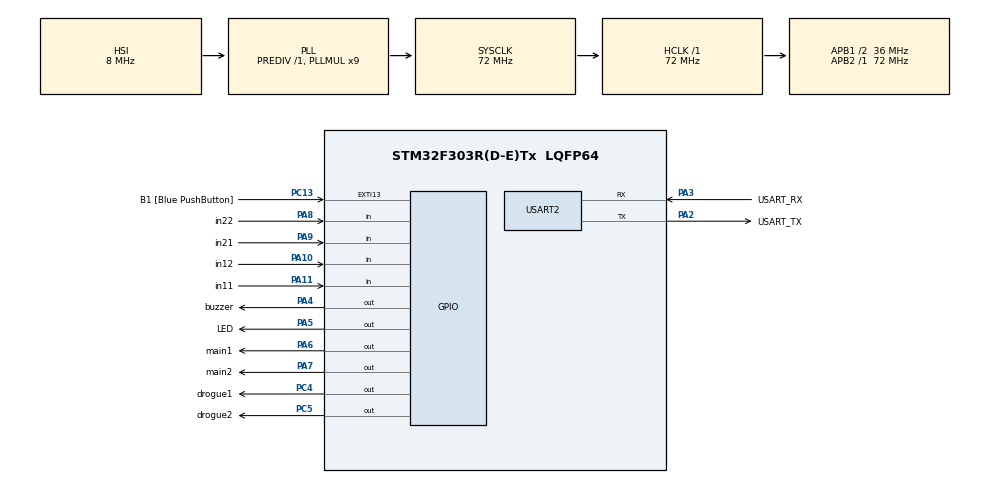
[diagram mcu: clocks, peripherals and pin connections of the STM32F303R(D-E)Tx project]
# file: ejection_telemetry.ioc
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FREERTOS.Tasks01=ejection,24,128,StartEjection,Default,NULL,Dynamic,NULL,NULL;telemetry,8,128,StartTelemetry,Default,NULL,Dynamic,NULL,NULL
Mcu.Family=STM32F3
Mcu.Name=STM32F303R(D-E)Tx
Mcu.Package=LQFP64
NVIC.PriorityGroup=NVIC_PRIORITYGROUP_4
NVIC.TIM6_DAC_IRQn=true\:0\:0\:false\:false\:true\:false\:false\:true
NVIC.TimeBase=TIM6_DAC_IRQn
NVIC.TimeBaseIP=TIM6
PA10.GPIO_Label=in12
PA10.Signal=GPIO_Input
PA11.GPIO_Label=in11
PA11.Signal=GPIO_Input
PA13.GPIO_Label=TMS
PA13.Mode=Serial_Wire
PA13.Signal=SYS_JTMS-SWDIO
PA14.GPIO_Label=TCK
PA14.Mode=Serial_Wire
PA14.Signal=SYS_JTCK-SWCLK
PA2.GPIO_Label=USART_TX
PA2.GPIO_Mode=GPIO_MODE_AF_PP
PA2.GPIO_PuPd=GPIO_NOPULL
PA2.GPIO_Speed=GPIO_SPEED_FREQ_LOW
PA2.Mode=Asynchronous
PA2.Signal=USART2_TX
PA3.GPIO_Label=USART_RX
PA3.GPIO_Mode=GPIO_MODE_AF_PP
PA3.GPIO_PuPd=GPIO_NOPULL
PA3.GPIO_Speed=GPIO_SPEED_FREQ_LOW
PA3.Mode=Asynchronous
PA3.Signal=USART2_RX
PA4.GPIO_Label=buzzer
PA4.Signal=GPIO_Output
PA5.GPIO_Label=LED
PA5.GPIO_Mode=GPIO_MODE_OUTPUT_PP
PA5.GPIO_PuPd=GPIO_NOPULL
PA5.GPIO_Speed=GPIO_SPEED_FREQ_LOW
PA5.Signal=GPIO_Output
PA6.GPIO_Label=main1
PA6.Signal=GPIO_Output
PA7.GPIO_Label=main2
PA7.Signal=GPIO_Output
PA8.GPIO_Label=in22
PA8.Signal=GPIO_Input
PA9.GPIO_Label=in21
PA9.Signal=GPIO_Input
PB3.GPIO_Label=SWO
PB3.Signal=SYS_JTDO-TRACESWO
PC13.GPIO_Label=B1 [Blue PushButton]
PC13.GPIO_ModeDefaultEXTI=GPIO_MODE_IT_FALLING
PC13.Signal=GPXTI13
PC14-OSC32_IN.Mode=LSE-External-Oscillator
PC14-OSC32_IN.Signal=RCC_OSC32_IN
PC15-OSC32_OUT.Mode=LSE-External-Oscillator
PC15-OSC32_OUT.Signal=RCC_OSC32_OUT
PC4.GPIO_Label=drogue1
PC4.Signal=GPIO_Output
PC5.GPIO_Label=drogue2
PC5.Signal=GPIO_Output
PF0-OSC_IN.Mode=HSE-External-Clock-Source
PF0-OSC_IN.Signal=RCC_OSC_IN
PF1-OSC_OUT.Signal=RCC_OSC_OUT
ProjectManager.HeapSize=0x200
ProjectManager.StackSize=0x400
ProjectManager.TargetToolchain=STM32CubeIDE
RCC.AHBFreq_Value=72000000
RCC.APB1CLKDivider=RCC_HCLK_DIV2
RCC.APB1Freq_Value=36000000
RCC.APB1TimFreq_Value=72000000
RCC.APB2Freq_Value=72000000
RCC.APB2TimFreq_Value=72000000
RCC.CortexFreq_Value=72000000
RCC.HCLKFreq_Value=72000000
RCC.HSE_VALUE=8000000
RCC.HSI_VALUE=8000000
RCC.PLLM=8
RCC.PLLMUL=RCC_PLL_MUL9
RCC.PLLN=336
RCC.PLLP=RCC_PLLP_DIV4
RCC.PLLQ=7
RCC.RCC_PLLsource_Clock_Source_FROM_HSE=RCC_HSE_PREDIV_DIV2
RCC.SYSCLKFreq_VALUE=72000000
RCC.SYSCLKSourceVirtual=RCC_SYSCLKSOURCE_PLLCLK
RCC.USBFreq_Value=72000000
USART2.VirtualMode-Asynchronous=VM_ASYNC
VP_FREERTOS_VS_CMSIS_V2.Mode=CMSIS_V2
VP_SYS_VS_tim6.Mode=TIM6
board=NUCLEO-F303RE

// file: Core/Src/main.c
/* USER CODE BEGIN Header */
/**
 ******************************************************************************
 * @file           : main.c
 * @brief          : Main program body
 ******************************************************************************
 * @attention
 *
 * <h2><center>&copy; Copyright (c) 2021 STMicroelectronics.
 * All rights reserved.</center></h2>
 *
 * This software component is licensed by ST under BSD 3-Clause license,
 * the "License"; You may not use this file except in compliance with the
 * License. You may obtain a copy of the License at:
 *                        opensource.org/licenses/BSD-3-Clause
 *
 ******************************************************************************
 */
/* USER CODE END Header */
#include "main.h"
#include "cmsis_os.h"

/* USER CODE BEGIN Includes */

#include <string.h>
#include <stdio.h>
#include <math.h>

/* USER CODE END Includes */

UART_HandleTypeDef huart2;

/* Definitions for ejection */
osThreadId_t ejectionHandle;
const osThreadAttr_t ejection_attributes = {
		.name = "ejection",
		.priority = (osPriority_t) osPriorityNormal,
		.stack_size = 128 * 4
};
/* Definitions for telemetry */
osThreadId_t telemetryHandle;
const osThreadAttr_t telemetry_attributes = {
		.name = "telemetry",
		.priority = (osPriority_t) osPriorityLow,
		.stack_size = 128 * 4
};
/* USER CODE BEGIN PV */
// Control variables
float local_pressure = 101200.0; //hPa (sea level)
float threshold_altitude = 10000; //feet
float main_deployment = 1500; //feet
long drogue_delay = 500; // milliseconds. time that drogue is HIGH
long main_delay = 500; // milliseconds. time that main is HIGH

// Configuration variables
float freq = 3750; // buzzer sound frequency.
float a = 1; // Cut-off frequency of low-pass filter in Hz.
#define num_meas 10 // Number of historic measurements for averaging.

// Programming variables
float alt_meas;
float ground_alt = 0.0;
float T; // sampling period, time of each loop
float alt_previous[num_meas];
float alt_filtered;
float t_previous_loop, t_previous_buzz;
float average_gradient;
int apogee_reached = 0;
int launched = 0;
int main_deployed = 0;

// Relay output checks
int R11; // drogue1
int R12; // drogue2
int R21; // main1
int R22; // main2

long time11;
long time12;
long time21;
long time22;

uint16_t size;
uint8_t Data[256];
/* USER CODE END PV */

void SystemClock_Config(void);
static void MX_GPIO_Init(void);
static void MX_USART2_UART_Init(void);
void StartEjection(void *argument);
void StartTelemetry(void *argument);

/* USER CODE BEGIN PFP */

int XTENDSerial_Begin(int x);
int bmp_Begin(void);
int bno_Begin(void);
int GPS_Begin(void);
int SD_Begin(int x);
int RTC_Begin(void);
int RTC_initialized(void);

int SD_Exist(char *name);
void SD_remove(char *name);
FILE * SD_Open(char *name, char *mode);
void RTC_Adjust(/*Date time*/);

char * getDateTime(void);

float bno_getAccelerometer_getX();
float bno_getAccelerometer_getY();
float bno_getAccelerometer_getZ();

float bno_getEuler_getX();
float bno_getEuler_getY();
float bno_getEuler_getZ();

float bmp_readTemperature();
float bmp_readPressure();

float GPS_getLatitude();
float GPS_getLongitude();
float GPS_getAltitude();

void XTENDSerial_print(char * str);

/* USER CODE END PFP */

int main(void)
{

	/* MCU Configuration--------------------------------------------------------*/

	/* Reset of all peripherals, Initializes the Flash interface and the Systick. */
	HAL_Init();

	/* Configure the system clock */
	SystemClock_Config();

	/* Initialize all configured peripherals */
	MX_GPIO_Init();
	MX_USART2_UART_Init();

	/* Init scheduler */
	osKernelInitialize();

	/* Create the thread(s) */
	/* creation of ejection */
	ejectionHandle = osThreadNew(StartEjection, NULL, &ejection_attributes);

	/* creation of telemetry */
	telemetryHandle = osThreadNew(StartTelemetry, NULL, &telemetry_attributes);

	/* Start scheduler */
	osKernelStart();

	/* We should never get here as control is now taken by the scheduler */
	/* Infinite loop */
	while (1)
	{

	}
}

void SystemClock_Config(void)
{
	RCC_OscInitTypeDef RCC_OscInitStruct = {0};
	RCC_ClkInitTypeDef RCC_ClkInitStruct = {0};
	RCC_PeriphCLKInitTypeDef PeriphClkInit = {0};

	/** Initializes the RCC Oscillators according to the specified parameters
	 * in the RCC_OscInitTypeDef structure.
	 */
	RCC_OscInitStruct.OscillatorType = RCC_OSCILLATORTYPE_HSI;
	RCC_OscInitStruct.HSIState = RCC_HSI_ON;
	RCC_OscInitStruct.HSICalibrationValue = RCC_HSICALIBRATION_DEFAULT;
	RCC_OscInitStruct.PLL.PLLState = RCC_PLL_ON;
	RCC_OscInitStruct.PLL.PLLSource = RCC_PLLSOURCE_HSI;
	RCC_OscInitStruct.PLL.PLLMUL = RCC_PLL_MUL9;
	RCC_OscInitStruct.PLL.PREDIV = RCC_PREDIV_DIV1;
	if (HAL_RCC_OscConfig(&RCC_OscInitStruct) != HAL_OK)
	{
		Error_Handler();
	}
	/** Initializes the CPU, AHB and APB buses clocks
	 */
	RCC_ClkInitStruct.ClockType = RCC_CLOCKTYPE_HCLK|RCC_CLOCKTYPE_SYSCLK
			|RCC_CLOCKTYPE_PCLK1|RCC_CLOCKTYPE_PCLK2;
	RCC_ClkInitStruct.SYSCLKSource = RCC_SYSCLKSOURCE_PLLCLK;
	RCC_ClkInitStruct.AHBCLKDivider = RCC_SYSCLK_DIV1;
	RCC_ClkInitStruct.APB1CLKDivider = RCC_HCLK_DIV2;
	RCC_ClkInitStruct.APB2CLKDivider = RCC_HCLK_DIV1;

	if (HAL_RCC_ClockConfig(&RCC_ClkInitStruct, FLASH_LATENCY_2) != HAL_OK)
	{
		Error_Handler();
	}
	PeriphClkInit.PeriphClockSelection = RCC_PERIPHCLK_USART2;
	PeriphClkInit.Usart2ClockSelection = RCC_USART2CLKSOURCE_PCLK1;
	if (HAL_RCCEx_PeriphCLKConfig(&PeriphClkInit) != HAL_OK)
	{
		Error_Handler();
	}
}

static void MX_USART2_UART_Init(void)
{

	huart2.Instance = USART2;
	huart2.Init.BaudRate = 38400;
	huart2.Init.WordLength = UART_WORDLENGTH_8B;
	huart2.Init.StopBits = UART_STOPBITS_1;
	huart2.Init.Parity = UART_PARITY_NONE;
	huart2.Init.Mode = UART_MODE_TX_RX;
	huart2.Init.HwFlowCtl = UART_HWCONTROL_NONE;
	huart2.Init.OverSampling = UART_OVERSAMPLING_16;
	huart2.Init.OneBitSampling = UART_ONE_BIT_SAMPLE_DISABLE;
	huart2.AdvancedInit.AdvFeatureInit = UART_ADVFEATURE_NO_INIT;
	if (HAL_UART_Init(&huart2) != HAL_OK)
	{
		Error_Handler();
	}

}

static void MX_GPIO_Init(void)
{
	GPIO_InitTypeDef GPIO_InitStruct = {0};

	/* GPIO Ports Clock Enable */
	__HAL_RCC_GPIOC_CLK_ENABLE();
	__HAL_RCC_GPIOF_CLK_ENABLE();
	__HAL_RCC_GPIOA_CLK_ENABLE();
	__HAL_RCC_GPIOB_CLK_ENABLE();

	/*Configure GPIO pin Output Level */
	HAL_GPIO_WritePin(GPIOA, buzzer_Pin|LED_Pin|main1_Pin|main2_Pin, GPIO_PIN_RESET);

	/*Configure GPIO pin Output Level */
	HAL_GPIO_WritePin(GPIOC, drogue1_Pin|drogue2_Pin, GPIO_PIN_RESET);

	/*Configure GPIO pin : B1_Pin */
	GPIO_InitStruct.Pin = B1_Pin;
	GPIO_InitStruct.Mode = GPIO_MODE_IT_FALLING;
	GPIO_InitStruct.Pull = GPIO_NOPULL;
	HAL_GPIO_Init(B1_GPIO_Port, &GPIO_InitStruct);

	/*Configure GPIO pins : buzzer_Pin LED_Pin main1_Pin main2_Pin */
	GPIO_InitStruct.Pin = buzzer_Pin|LED_Pin|main1_Pin|main2_Pin;
	GPIO_InitStruct.Mode = GPIO_MODE_OUTPUT_PP;
	GPIO_InitStruct.Pull = GPIO_NOPULL;
	GPIO_InitStruct.Speed = GPIO_SPEED_FREQ_LOW;
	HAL_GPIO_Init(GPIOA, &GPIO_InitStruct);

	/*Configure GPIO pins : drogue1_Pin drogue2_Pin */
	GPIO_InitStruct.Pin = drogue1_Pin|drogue2_Pin;
	GPIO_InitStruct.Mode = GPIO_MODE_OUTPUT_PP;
	GPIO_InitStruct.Pull = GPIO_NOPULL;
	GPIO_InitStruct.Speed = GPIO_SPEED_FREQ_LOW;
	HAL_GPIO_Init(GPIOC, &GPIO_InitStruct);

	/*Configure GPIO pins : in22_Pin in21_Pin in12_Pin in11_Pin */
	GPIO_InitStruct.Pin = in22_Pin|in21_Pin|in12_Pin|in11_Pin;
	GPIO_InitStruct.Mode = GPIO_MODE_INPUT;
	GPIO_InitStruct.Pull = GPIO_NOPULL;
	HAL_GPIO_Init(GPIOA, &GPIO_InitStruct);

}

/* USER CODE BEGIN 4 */
int begin(void){
	return 1;
}

float readAltitude(float local_pressure){
	return local_pressure;
}

///Empty functions end here
#define false 0
#define true 1

void setup() {
	HAL_GPIO_WritePin(drogue1_GPIO_Port, drogue1_Pin, GPIO_PIN_RESET);
	HAL_GPIO_WritePin(drogue2_GPIO_Port, drogue2_Pin, GPIO_PIN_RESET);
	HAL_GPIO_WritePin(main1_GPIO_Port, main1_Pin, GPIO_PIN_RESET);
	HAL_GPIO_WritePin(main2_GPIO_Port, main2_Pin, GPIO_PIN_RESET);
	HAL_GPIO_WritePin(buzzer_GPIO_Port, buzzer_Pin, GPIO_PIN_RESET);
	HAL_GPIO_WritePin(LED_GPIO_Port, LED_Pin, GPIO_PIN_SET);

	if (!begin()){
		///printf("\r\nCould not find a valid BME280 sensor, check wiring!");
		size = sprintf((char *)Data, "Could not find a valid BME280 sensor, check wiring\n");
		HAL_UART_Transmit(&huart2, Data, size, 1000);
		HAL_Delay(2000);

		HAL_GPIO_WritePin(buzzer_GPIO_Port, buzzer_Pin, GPIO_PIN_RESET);

		HAL_Delay(5000);
		HAL_GPIO_WritePin(buzzer_GPIO_Port, buzzer_Pin, GPIO_PIN_RESET);
		while (1);
	} else {
		int i;
		for (i = 0 ; i < 3; i++){
			HAL_GPIO_WritePin(buzzer_GPIO_Port, buzzer_Pin, GPIO_PIN_RESET);
			HAL_Delay(100);
			HAL_GPIO_WritePin(buzzer_GPIO_Port, buzzer_Pin, GPIO_PIN_RESET);
			HAL_Delay(100);
		}
	}

	for (int i = 0; i < 500; i++){
		ground_alt += readAltitude(local_pressure/100.0); //takes sea-level pressure and reads alt 500 times
	}
	ground_alt = ground_alt/500.0; //average of alt readings
	a = 2*3.14159*a;
	size = sprintf((char *)Data, "Ejection Initialized\n");
	HAL_UART_Transmit(&huart2, Data, size, 1000);
}

void loop() {
	if (main_deployed == false){
		T = (HAL_GetTick() - t_previous_loop)/1000; //millis() = time since program start running T running time of curr loop (s)
		t_previous_loop = HAL_GetTick(); //total time

		alt_meas = (readAltitude(local_pressure/100) - ground_alt)*3.28084; //Measures AGL altitude in feet

		// Low-pass filter - rocket at high speeds pressure fluctuates and affects altitude reading, usaully at a high frequency, so low pass filter filters those high freuqency changes out
		//and keeps just the overall, low frequency changes (caused by altitude change)
		alt_filtered = (1 - T * a) * alt_previous[num_meas-1] + a * T * alt_meas;

		// Slide window of 10 measurement history.
		for (int i = 0; i < num_meas-1; i++){
			alt_previous[i] = alt_previous[i+1];
		}
		alt_previous[num_meas-1] = alt_filtered;

		// Launch Detection
		if (alt_filtered > 150 && launched == false){
			launched = true;
		}

		//Average gradient of 10 past measurements.
		average_gradient = 0;
		for (int i = 0; i < num_meas-1; i++){
			average_gradient += (alt_previous[i+1]- alt_previous[i]);
		}
		if (T>0){
			average_gradient /= (num_meas);
		}

		// Apogee detection
		if (alt_filtered > threshold_altitude && launched && apogee_reached == false){

			if (average_gradient < -2){ //what is the purpose of this -2?
				apogee_reached = true;
				HAL_GPIO_WritePin(drogue1_GPIO_Port, drogue1_Pin, GPIO_PIN_SET);
				HAL_GPIO_WritePin(drogue2_GPIO_Port, drogue2_Pin, GPIO_PIN_SET);
				HAL_Delay(drogue_delay);

				/* This part is commented out because the original arduino code commented this part out as well
				R11 = HAL_GIPO_ReadPin(in11_GPIO_Port, in11_Pin);
				R12 = HAL_GIPO_ReadPin(in12_GPIO_Port, in12_Pin);
				if(R11){
					time11 = HAL_GetTick();
				}if(R12){
					time12 = HAL_GetTick();
				}
				 */

				HAL_GPIO_WritePin(drogue1_GPIO_Port, drogue1_Pin, GPIO_PIN_RESET);
				HAL_GPIO_WritePin(drogue2_GPIO_Port, drogue2_Pin, GPIO_PIN_RESET);
			}
		}

		// Main Deployment detection
		if (apogee_reached && alt_filtered < main_deployment && main_deployed == false){
			main_deployed = true;
			HAL_GPIO_WritePin(main1_GPIO_Port, main1_Pin, GPIO_PIN_SET);
			HAL_GPIO_WritePin(main2_GPIO_Port, main2_Pin, GPIO_PIN_SET);
			HAL_Delay(main_delay);

			/* This part is commented out because the original arduino code commented this part out as well
			R21 = HAL_GIPO_ReadPin(in21_GPIO_Port, in21_Pin);
			R22 = HAL_GIPO_ReadPin(in22_GPIO_Port, in22_Pin);
			if(R21){
				time21 = HAL_GetTick();
			}if(R22){
				time22 = HAL_GetTick();
			}
			 */

			HAL_GPIO_WritePin(main1_GPIO_Port, main1_Pin, GPIO_PIN_RESET);
			HAL_GPIO_WritePin(main2_GPIO_Port, main2_Pin, GPIO_PIN_RESET);
		}

	}
	else{ //Longer buzz to indicate program completion

		HAL_GPIO_WritePin(buzzer_GPIO_Port, buzzer_Pin, GPIO_PIN_SET);
		HAL_Delay(1000);
		HAL_GPIO_WritePin(buzzer_GPIO_Port, buzzer_Pin, GPIO_PIN_RESET);
		HAL_Delay(1000);

	}
	//Just for debuggging.
	// printf("alt_meas = %d,  average_gradient = %d, alt_filtered = %d",alt_meas,average_gradient,alt_filtered);

	size = sprintf((char *)Data,"alt_meas: %.2d , average_gradient: %.2d , alt_filtered: %.2d\n", alt_meas, average_gradient, alt_filtered);
	HAL_UART_Transmit(&huart2, Data, size, 1000);

	HAL_Delay(5);
}

int XTENDSerial_Begin(int x){
	return x;
}
int bmp_Begin(void){
	return true;
}
int bno_Begin(void)
{
	return true;
}
int myGPS_Begin(void)
{
	return true;
}
int SD_Begin(int x){
	return x;
}
int RTC_Begin(void){
	return true;
}
int RTC_initialized(void){
	return true;
}

int SD_Exist(char *name){
	return false;
}
void SD_remove(char *name){
	return;
}
FILE * SD_Open(char *name, char *mode){
	return NULL;
}
void RTC_Adjust(/*Date time*/){
	return;
}

char * getDateTime(void){
	return "date_time";
}

float bno_getAccelerometer_getX(){
	return 10;
}
float bno_getAccelerometer_getY(){
	return 10;
}
float bno_getAccelerometer_getZ(){
	return 10;
}

float bno_getEuler_getX(){
	return 10;
}
float bno_getEuler_getY(){
	return 10;
}
float bno_getEuler_getZ(){
	return 10;
}

float bmp_readTemperature(){
	return 10;
}
float bmp_readPressure(){
	return 10;
}

float GPS_getLatitude(){
	return 10;
}
float GPS_getLongitude(){
	return 10;
}
float GPS_getAltitude(){
	return 10;
}

void XTENDSerial_print(char * str){
	return;
}
/* USER CODE END 4 */

void StartEjection(void *argument)
{
	/* USER CODE BEGIN 5 */
	/* Infinite loop */
	setup();

	for(;;)
	{
		loop();
		osDelay(500);
	}
	/* USER CODE END 5 */
}

void StartTelemetry(void *argument)
{
	/* USER CODE BEGIN StartTelemetry */
	/* Infinite loop */

	//TODO Initialise serial (UART with specific baud rate and Wire.begin which idk)

	char msg[500];

	//TODO sensor initialisation
	//struct FILE *myFile;
	float temp, pressure, real_altitude, accel_x, accel_y, accel_z, pitch, roll, yaw;
	int seaLevelhPa = 102540;

	// Check BMP
	if (!bmp_Begin()) {
		sprintf(msg, "BMP280 initialization failed!\n");
		HAL_UART_Transmit(&huart2, (uint8_t*)msg, strlen(msg), 1000);
		while (1);
	}

	// Check BNO
	if (!bno_Begin())
	{
		sprintf(msg, "BNO055 initialization failed!\n");
		HAL_UART_Transmit(&huart2, (uint8_t*)msg, strlen(msg), 1000);
		while (1);
	}

	// Check GPS
	if (myGPS_Begin() == 0) //Connect to the Ublox module using Wire port
	{
		sprintf(msg, "GPS initialization failed!\n");
		HAL_UART_Transmit(&huart2, (uint8_t*)msg, strlen(msg), 1000);
		while (1);
	}

	// Check SD Card
	if (!SD_Begin(10)) {
		sprintf(msg, "SD card initialization failed!\n");
		HAL_UART_Transmit(&huart2, (uint8_t*)msg, strlen(msg), 1000);
		return;
	}

	// Check RTC
	if (! RTC_Begin()) {
		sprintf(msg, "Couldn't find RTC\n");
		HAL_UART_Transmit(&huart2, (uint8_t*)msg, strlen(msg), 1000);
		while (1);
	}

	if(SD_Exist("example.txt")){
		SD_remove("example.txt");
	}

	//myFile = SD_Open("example.txt", "wt");
	//fclose(myFile);

	if (! RTC_initialized()) {
		sprintf(msg, "RTC is NOT running!");
		HAL_UART_Transmit(&huart2, (uint8_t*)msg, strlen(msg), HAL_MAX_DELAY);
		// following line sets the RTC to the date & time this sketch was compiled
		// RTC_Adjust(/*TODO date and time format*/);
		// This line sets the RTC with an explicit date & time, for example to set
		// January 21, 2014 at 3am you would call:
		// rtc.adjust(DateTime(2014, 1, 21, 3, 0, 0));
	}

	sprintf(msg, "Telemetry Initialized\n");
	HAL_UART_Transmit(&huart2, (uint8_t*)msg, strlen(msg), 1000);

	/*TODO
	 * bno, bmp and GPS configuration (will do after we figure out the drivers)
	 */

	for (;;){

		accel_x = bno_getAccelerometer_getX();
		accel_y = bno_getAccelerometer_getY();
		accel_z = bno_getAccelerometer_getZ();

		yaw = bno_getEuler_getX();
		pitch = bno_getEuler_getY();
		roll = bno_getEuler_getZ();

		temp = bmp_readTemperature();
		pressure = bmp_readPressure();

		real_altitude = 44330 * (1.0 - pow(pressure / seaLevelhPa, 0.190295));

		long latitude = GPS_getLatitude();
		latitude /= pow(10,7);

		long longitude = GPS_getLongitude();
		longitude /= pow(10,7);

		long gpsAltitude = GPS_getAltitude();
		gpsAltitude /= pow(10,3);

		size = sprintf((char *)Data,"Temp:%d,Pressure:d,Altitude(BMP,m):%d,Pitch:%d,Roll:%d,Yaw:%d,Latitude:%d,Longitude:%d,Altitude(GPS,m):%d",
				temp, pressure,pitch, roll, yaw, latitude, longitude, gpsAltitude);
		HAL_UART_Transmit(&huart2, Data, size, 1000);
		//getDateTime() not working?

		//myFile = SD_Open("example.txt", "wt");
		//fputs(msg, myFile);
		//fclose(myFile);
		XTENDSerial_print(msg);

		osDelay(500);
	}
	//free(myFile);
	/* USER CODE END StartTelemetry */
}

void HAL_TIM_PeriodElapsedCallback(TIM_HandleTypeDef *htim)
{
	if (htim->Instance == TIM6) {
		HAL_IncTick();
	}
}

void Error_Handler(void)
{
	__disable_irq();
	while (1)
	{
	}
}

/************************ (C) COPYRIGHT STMicroelectronics *****END OF FILE****/
